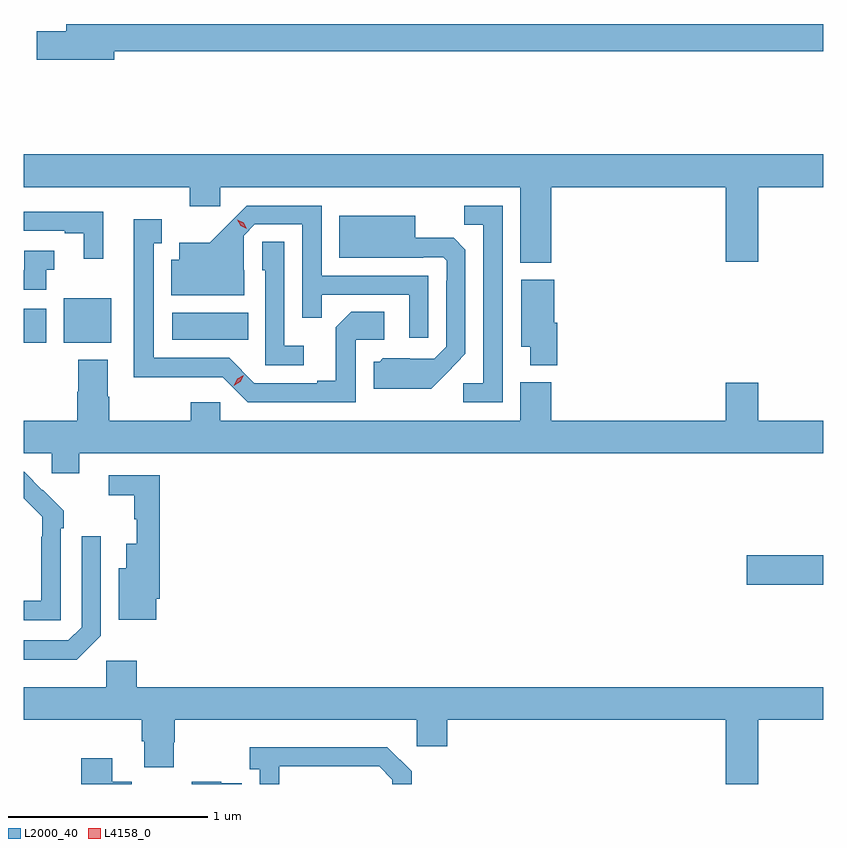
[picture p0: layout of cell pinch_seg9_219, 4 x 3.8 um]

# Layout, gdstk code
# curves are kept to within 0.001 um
import gdstk
lib = gdstk.Library(unit=1e-6, precision=1e-09)
def R(c, l, rs):  # rectangles x0, y0, x1, y1
    for r in rs: c.add(gdstk.rectangle(r[:2], r[2:], *l))
def P(c, l, *ps):  # polygons
    for p in ps: c.add(gdstk.Polygon(p, *l))
L2000_40 = (2000, 40)
L4158_0 = (4158, 0)

pinch_seg9_219 = lib.new_cell('pinch_seg9_219')
R(pinch_seg9_219, L2000_40, [(608.67,1205.087,609.053,1205.234), (605.053,1206.299,605.167,1206.469), (605.255,1206.299,605.491,1206.52), (605.796,1206.314,606.176,1206.448)])
P(pinch_seg9_219, L2000_40, [(605.506,1207.756),(609.053,1207.756),(609.053,1207.892),(605.267,1207.892),(605.267,1207.856),(605.118,1207.856),(605.118,1207.714),(605.506,1207.714)],
  [(607.691,1207.076),(608.564,1207.076),(608.564,1206.702),(608.728,1206.702),(608.728,1207.076),(609.053,1207.076),(609.053,1207.24),(605.053,1207.24),(605.053,1207.076),(605.885,1207.076),(605.885,1206.981),(606.036,1206.981),(606.036,1207.076),(607.538,1207.076),(607.538,1206.698),(607.691,1206.698)],
  [(607.449,1206.984),(607.258,1206.984),(607.258,1206.889),(607.353,1206.889),(607.353,1206.096),(607.251,1206.096),(607.251,1206),(607.449,1206)],
  [(607.077,1206.633),(606.543,1206.633),(606.543,1206.984),(606.17,1206.984),(605.983,1206.799),(605.831,1206.799),(605.831,1206.712),(605.792,1206.712),(605.792,1206.536),(606.157,1206.536),(606.157,1206.66),(606.153,1206.66),(606.153,1206.834),(606.21,1206.891),(606.447,1206.891),(606.447,1206.424),(606.545,1206.424),(606.545,1206.537),(606.981,1206.537),(606.981,1206.324),(607.077,1206.324)],
  [(605.452,1206.954),(605.053,1206.954),(605.053,1206.858),(605.258,1206.858),(605.258,1206.846),(605.354,1206.846),(605.354,1206.717),(605.452,1206.717)],
  [(607.171,1206.149),(607.263,1206.242),(607.263,1206.764),(607.204,1206.823),(607.012,1206.823),(607.012,1206.934),(606.632,1206.934),(606.632,1206.722),(607.052,1206.722),(607.052,1206.726),(607.152,1206.726),(607.17,1206.708),(607.17,1206.608),(607.167,1206.608),(607.167,1206.279),(607.107,1206.219),(606.85,1206.22),(606.834,1206.204),(606.803,1206.204),(606.803,1206.068),(607.091,1206.068)],
  [(606.714,1206.312),(606.856,1206.312),(606.856,1206.452),(606.691,1206.452),(606.615,1206.376),(606.615,1206.109),(606.521,1206.109),(606.521,1206.096),(606.207,1206.096),(606.081,1206.222),(605.704,1206.222),(605.704,1206.795),(605.743,1206.795),(605.743,1206.916),(605.603,1206.916),(605.603,1206.125),(606.048,1206.126),(606.174,1206),(606.714,1206)],
  [(606.454,1206.283),(606.357,1206.283),(606.357,1206.803),(606.246,1206.803),(606.246,1206.66),(606.261,1206.66),(606.261,1206.186),(606.454,1206.186)],
  [(605.167,1206.662),(605.206,1206.662),(605.206,1206.759),(605.057,1206.759),(605.057,1206.66),(605.053,1206.66),(605.053,1206.564),(605.167,1206.564)],
  [(607.721,1206.399),(607.708,1206.399),(607.708,1206.613),(607.541,1206.613),(607.541,1206.278),(607.586,1206.278),(607.586,1206.185),(607.721,1206.185)],
  [(605.332,1205.744),(609.053,1205.744),(609.053,1205.908),(608.728,1205.908),(608.728,1206.097),(608.564,1206.097),(608.564,1205.908),(607.691,1205.908),(607.691,1206.1),(607.538,1206.1),(607.538,1205.908),(606.036,1205.908),(606.036,1206.001),(605.89,1206.001),(605.89,1205.908),(605.481,1205.908),(605.481,1206.029),(605.473,1206.029),(605.473,1206.214),(605.326,1206.214),(605.326,1206.053),(605.321,1206.053),(605.321,1205.908),(605.053,1205.908),(605.053,1205.744),(605.193,1205.744),(605.193,1205.646),(605.332,1205.646)],
  [(605.238,1205.369),(605.253,1205.369),(605.253,1205.457),(605.056,1205.652),(605.053,1205.652),(605.053,1205.52),(605.145,1205.427),(605.145,1205.327),(605.142,1205.327),(605.142,1205.007),(605.053,1205.007),(605.053,1204.911),(605.238,1204.911)],
  [(605.716,1205.017),(605.735,1205.017),(605.735,1205.634),(605.478,1205.634),(605.478,1205.536),(605.607,1205.536),(605.607,1205.415),(605.618,1205.415),(605.618,1205.293),(605.567,1205.293),(605.567,1205.17),(605.528,1205.17),(605.528,1204.913),(605.716,1204.913)],
  [(605.439,1204.833),(605.439,1205.329),(605.343,1205.329),(605.343,1204.875),(605.277,1204.809),(605.053,1204.809),(605.053,1204.712),(605.318,1204.712)],
  [(608.728,1204.412),(609.053,1204.412),(609.053,1204.576),(605.618,1204.576),(605.618,1204.708),(605.466,1204.708),(605.466,1204.576),(605.053,1204.576),(605.053,1204.412),(605.645,1204.412),(605.645,1204.306),(605.657,1204.306),(605.657,1204.174),(605.805,1204.174),(605.805,1204.299),(605.81,1204.299),(605.81,1204.412),(607.02,1204.412),(607.02,1204.281),(607.172,1204.281),(607.172,1204.412),(608.564,1204.412),(608.564,1204.091),(608.728,1204.091)],
  [(606.331,1204.179),(606.831,1204.179),(606.897,1204.113),(606.897,1204.091),(606.993,1204.091),(606.993,1204.155),(606.872,1204.276),(606.183,1204.276),(606.183,1204.166),(606.234,1204.166),(606.234,1204.091),(606.331,1204.091)],
  [(605.593,1204.102),(605.497,1204.102),(605.497,1204.219),(605.341,1204.219),(605.341,1204.091),(605.593,1204.091)],
  [(606.143,1204.095),(606.041,1204.095),(606.041,1204.102),(605.893,1204.102),(605.893,1204.091),(606.143,1204.091)])
P(pinch_seg9_219, L4158_0, [(606.17,1206.868),(606.139,1206.883),(606.122,1206.912),(606.122,1206.913),(606.122,1206.913),(606.153,1206.898),(606.17,1206.868),(606.17,1206.868)],
  [(606.104,1206.084),(606.104,1206.084),(606.122,1206.117),(606.153,1206.136),(606.153,1206.136),(606.153,1206.136),(606.136,1206.103),(606.105,1206.084)])

lib.write_gds('pinch_seg9_219.gds')
